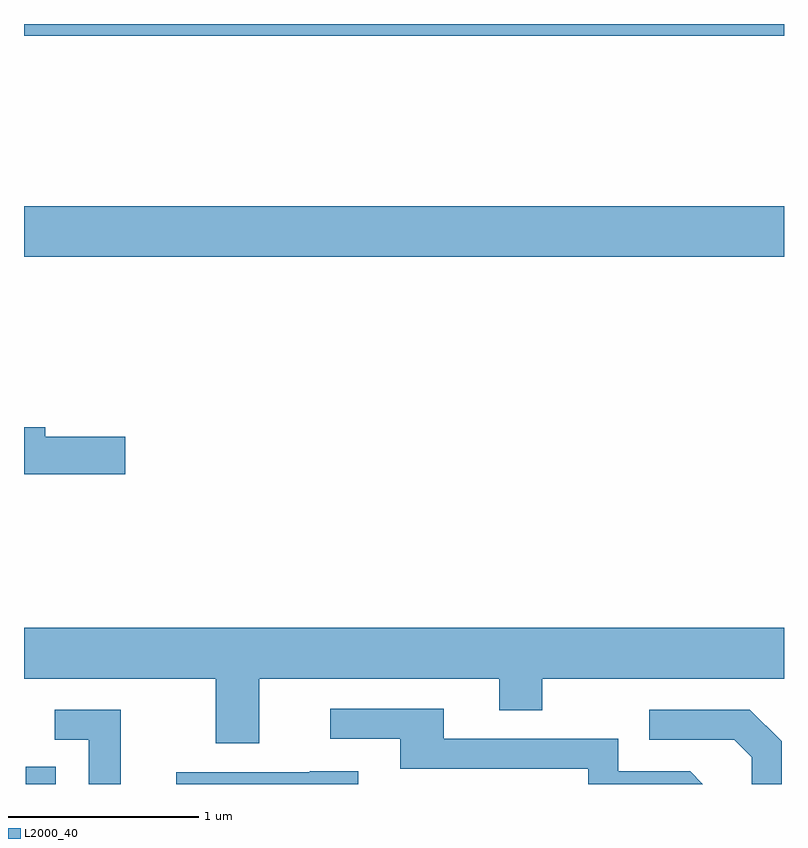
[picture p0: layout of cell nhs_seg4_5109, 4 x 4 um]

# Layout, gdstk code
import gdstk
lib = gdstk.Library(unit=1e-6, precision=1e-09)
def R(c, l, rs):  # rectangles x0, y0, x1, y1
    for r in rs: c.add(gdstk.rectangle(r[:2], r[2:], *l))
def P(c, l, *ps):  # polygons
    for p in ps: c.add(gdstk.Polygon(p, *l))
L2000_40 = (2000, 40)

nhs_seg4_5109 = lib.new_cell('nhs_seg4_5109')
R(nhs_seg4_5109, L2000_40, [(335.621,1271.982,335.779,1272.073), (335.611,1274.756,339.611,1275.024), (335.611,1275.921,339.611,1275.982)])
P(nhs_seg4_5109, L2000_40, [(336.144,1273.809),(335.724,1273.809),(335.724,1273.859),(335.611,1273.859),(335.611,1273.611),(336.144,1273.611)],
  [(336.849,1272.536),(338.111,1272.536),(338.111,1272.371),(338.339,1272.371),(338.339,1272.536),(339.611,1272.536),(339.611,1272.804),(335.611,1272.804),(335.611,1272.536),(336.621,1272.536),(336.621,1272.196),(336.849,1272.196)],
  [(339.117,1272.049),(338.739,1272.049),(338.739,1272.219),(337.819,1272.219),(337.819,1272.379),(337.223,1272.379),(337.223,1272.221),(337.591,1272.221),(337.591,1272.061),(338.581,1272.061),(338.581,1271.982),(339.184,1271.982)],
  [(336.119,1272.374),(335.773,1272.374),(335.773,1272.216),(335.951,1272.216),(335.951,1271.982),(336.119,1271.982)],
  [(339.599,1272.207),(339.432,1272.374),(338.903,1272.374),(338.903,1272.216),(339.349,1272.216),(339.441,1272.124),(339.441,1271.982),(339.599,1271.982)],
  [(337.369,1272.049),(337.115,1272.049),(337.115,1272.044),(336.411,1272.044),(336.411,1271.982),(337.369,1271.982)])

lib.write_gds('nhs_seg4_5109.gds')
